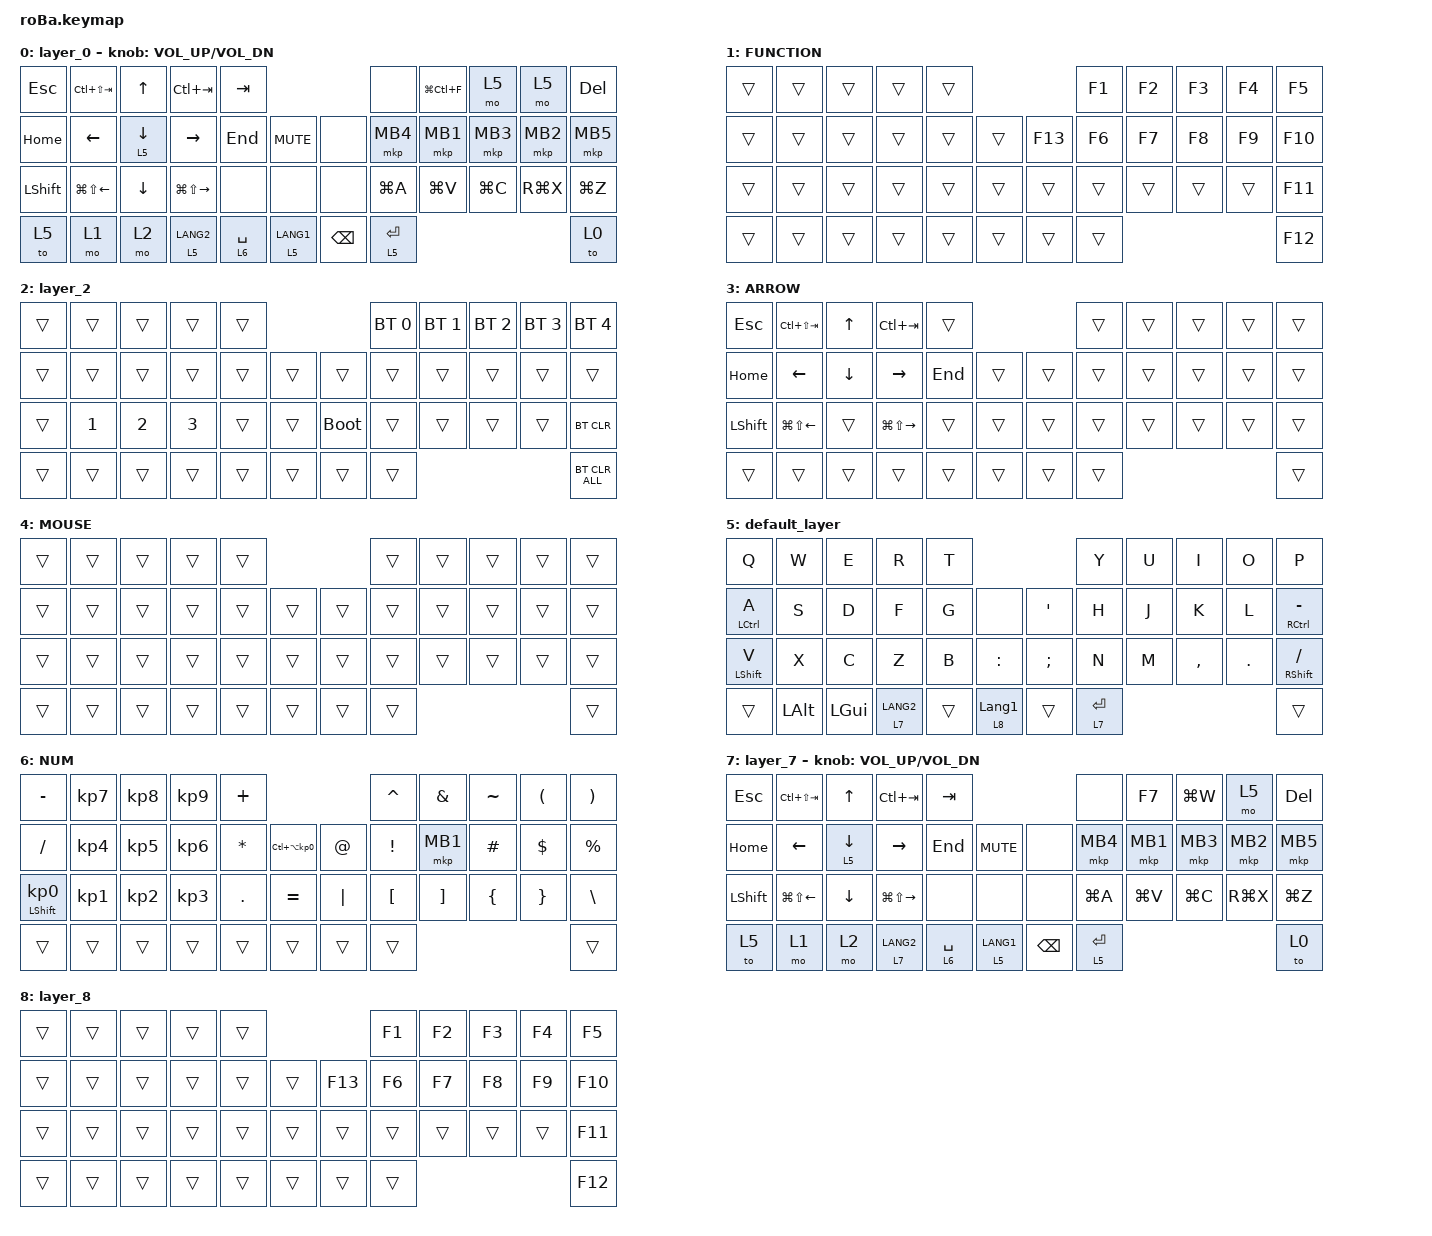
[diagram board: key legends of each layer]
#include <behaviors.dtsi>
#include <dt-bindings/zmk/bt.h>
#include <dt-bindings/zmk/keys.h>
#include <dt-bindings/zmk/pointing.h>

&mt {
    flavor = "balanced";
    quick-tap-ms = <0>;
};

&trackball {
    automouse-layer = <4>;
    scroll-layers = <5>;

    // arrows {
    //     layers = <3>;
    //     bindings =
    //         <&kp RIGHT_ARROW>,
    //         <&kp LEFT_ARROW>,
    //         <&kp UP_ARROW>,
    //         <&kp DOWN_ARROW>;
    //     tick = <10>;
    //     wait-ms = <5>;
    //     tap-ms = <5>;
    // };
};

/ {
    combos {
        compatible = "zmk,combos";

        reopentab {
            bindings = <&kp LS(LG(T))>;
            key-positions = <18 19>;
        };

        eq {
            bindings = <&kp EQUAL>;
            key-positions = <24 25>;
        };

        closewindow {
            bindings = <&kp LG(R)>;
            key-positions = <20 21>;
        };

        reload {
            bindings = <&kp LG(W)>;
            key-positions = <7 8>;
        };

        tabcom {
            bindings = <&kp TAB>;
            key-positions = <2 3>;
        };

        esccom {
            bindings = <&kp ESCAPE>;
            key-positions = <0 1>;
        };
    };

    macros {
        to_layer_0: to_layer_0 {
            compatible = "zmk,behavior-macro-one-param";
            #binding-cells = <1>;
            bindings = <&to 1 &macro_param_1to1 &kp MACRO_PLACEHOLDER>;
            label = "TO_LAYER_0";
        };
    };

    behaviors {
        lt_to_layer_0: lt_to_layer_0 {
            compatible = "zmk,behavior-hold-tap";
            label = "LAYER_TAP_TO_0";
            bindings = <&mo>, <&to_layer_0>;

            #binding-cells = <2>;
            tapping-term-ms = <200>;
        };
    };

    keymap {
        compatible = "zmk,keymap";

        layer_0 {
            bindings = <
&kp ESCAPE      &kp LC(LS(TAB))         &kp UP_ARROW      &kp LC(TAB)              &kp TAB                                      &none        &kp LG(LC(F))  &mo 5      &mo 5      &kp DELETE
&kp HOME        &kp LEFT_ARROW          &lt 5 DOWN_ARROW  &kp RIGHT_ARROW          &kp END      &kp K_MUTE       &none          &mkp MB4     &mkp MB1       &mkp MB3   &mkp MB2   &mkp MB5
&kp LEFT_SHIFT  &kp LG(LS(LEFT_ARROW))  &kp DOWN_ARROW    &kp LG(LS(RIGHT_ARROW))  &none        &none            &none          &kp LG(A)    &kp LG(V)      &kp LG(C)  &kp RG(X)  &kp LG(Z)
&to 5           &mo 1                   &mo 2             &lt 5 LANG2              &lt 6 SPACE  &lt 5 LANG1      &kp BACKSPACE  &lt 5 ENTER                                       &to 0
            >;

            sensor-bindings = <&inc_dec_kp K_VOL_UP K_VOL_DN>;
        };

        FUNCTION {
            bindings = <
&trans  &trans  &trans  &trans  &trans                       &kp F1  &kp F2  &kp F3  &kp F4  &kp F5
&trans  &trans  &trans  &trans  &trans  &trans      &kp F13  &kp F6  &kp F7  &kp F8  &kp F9  &kp F10
&trans  &trans  &trans  &trans  &trans  &trans      &trans   &trans  &trans  &trans  &trans  &kp F11
&trans  &trans  &trans  &trans  &trans  &trans      &trans   &trans                          &kp F12
            >;
        };

        layer_2 {
            bindings = <
&trans  &trans        &trans        &trans        &trans                           &bt BT_SEL 0  &bt BT_SEL 1  &bt BT_SEL 2  &bt BT_SEL 3  &bt BT_SEL 4
&trans  &trans        &trans        &trans        &trans  &trans      &trans       &trans        &trans        &trans        &trans        &trans
&trans  &kp NUMBER_1  &kp NUMBER_2  &kp NUMBER_3  &trans  &trans      &bootloader  &trans        &trans        &trans        &trans        &bt BT_CLR
&trans  &trans        &trans        &trans        &trans  &trans      &trans       &trans                                                  &bt BT_CLR_ALL
            >;
        };

        ARROW {
            bindings = <
&kp ESCAPE      &kp LC(LS(TAB))         &kp UP_ARROW    &kp LC(TAB)              &trans                       &trans  &trans  &trans  &trans  &trans
&kp HOME        &kp LEFT_ARROW          &kp DOWN_ARROW  &kp RIGHT_ARROW          &kp END  &trans      &trans  &trans  &trans  &trans  &trans  &trans
&kp LEFT_SHIFT  &kp LG(LS(LEFT_ARROW))  &trans          &kp LG(LS(RIGHT_ARROW))  &trans   &trans      &trans  &trans  &trans  &trans  &trans  &trans
&trans          &trans                  &trans          &trans                   &trans   &trans      &trans  &trans                          &trans
            >;
        };

        MOUSE {
            bindings = <
&trans  &trans  &trans  &trans  &trans                      &trans  &trans  &trans  &trans  &trans
&trans  &trans  &trans  &trans  &trans  &trans      &trans  &trans  &trans  &trans  &trans  &trans
&trans  &trans  &trans  &trans  &trans  &trans      &trans  &trans  &trans  &trans  &trans  &trans
&trans  &trans  &trans  &trans  &trans  &trans      &trans  &trans                          &trans
            >;
        };

        default_layer {
            bindings = <
&kp Q             &kp W         &kp E     &kp R        &kp T                                           &kp Y        &kp U  &kp I      &kp O    &kp P
&mt LCTRL A       &kp S         &kp D     &kp F        &kp G   &none                 &kp SINGLE_QUOTE  &kp H        &kp J  &kp K      &kp L    &mt RCTRL MINUS
&mt LEFT_SHIFT V  &kp X         &kp C     &kp Z        &kp B   &kp COLON             &kp SEMICOLON     &kp N        &kp M  &kp COMMA  &kp DOT  &mt RIGHT_SHIFT SLASH
&trans            &kp LEFT_ALT  &kp LGUI  &lt 7 LANG2  &trans  &lt 8 LANGUAGE_1      &trans            &lt 7 ENTER                             &trans
            >;
        };

        NUM {
            bindings = <
&kp MINUS                   &kp KP_NUMBER_7  &kp KP_NUMBER_8  &kp KP_NUMBER_9  &kp PLUS                                             &kp CARET         &kp AMPERSAND      &kp TILDE       &kp LEFT_PARENTHESIS  &kp RIGHT_PARENTHESIS
&kp SLASH                   &kp KP_NUMBER_4  &kp KP_NUMBER_5  &kp KP_NUMBER_6  &kp ASTERISK  &kp LC(LA(KP_NUMBER_0))      &kp AT    &kp EXCLAMATION   &mkp MB1           &kp HASH        &kp DOLLAR            &kp PERCENT
&mt LEFT_SHIFT KP_NUMBER_0  &kp KP_NUMBER_1  &kp KP_NUMBER_2  &kp KP_NUMBER_3  &kp PERIOD    &kp EQUAL                    &kp PIPE  &kp LEFT_BRACKET  &kp RIGHT_BRACKET  &kp LEFT_BRACE  &kp RIGHT_BRACE       &kp BACKSLASH
&trans                      &trans           &trans           &trans           &trans        &trans                       &trans    &trans                                                                     &trans
            >;
        };

        layer_7 {
            bindings = <
&kp ESCAPE      &kp LC(LS(TAB))         &kp UP_ARROW      &kp LC(TAB)              &kp TAB                                      &none        &kp F7     &kp LG(W)  &mo 5      &kp DELETE
&kp HOME        &kp LEFT_ARROW          &lt 5 DOWN_ARROW  &kp RIGHT_ARROW          &kp END      &kp K_MUTE       &none          &mkp MB4     &mkp MB1   &mkp MB3   &mkp MB2   &mkp MB5
&kp LEFT_SHIFT  &kp LG(LS(LEFT_ARROW))  &kp DOWN_ARROW    &kp LG(LS(RIGHT_ARROW))  &none        &none            &none          &kp LG(A)    &kp LG(V)  &kp LG(C)  &kp RG(X)  &kp LG(Z)
&to 5           &mo 1                   &mo 2             &lt 7 LANG2              &lt 6 SPACE  &lt 5 LANG1      &kp BACKSPACE  &lt 5 ENTER                                   &to 0
            >;

            sensor-bindings = <&inc_dec_kp K_VOL_UP K_VOL_DN>;
        };

        layer_8 {
            bindings = <
&trans  &trans  &trans  &trans  &trans                       &kp F1  &kp F2  &kp F3  &kp F4  &kp F5
&trans  &trans  &trans  &trans  &trans  &trans      &kp F13  &kp F6  &kp F7  &kp F8  &kp F9  &kp F10
&trans  &trans  &trans  &trans  &trans  &trans      &trans   &trans  &trans  &trans  &trans  &kp F11
&trans  &trans  &trans  &trans  &trans  &trans      &trans   &trans                          &kp F12
            >;
        };
    };

    conditional_layers { compatible = "zmk,conditional-layers"; };
};
